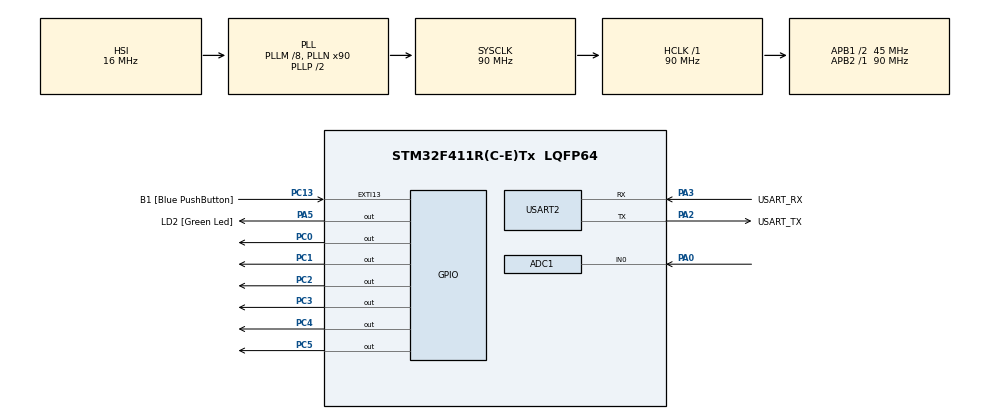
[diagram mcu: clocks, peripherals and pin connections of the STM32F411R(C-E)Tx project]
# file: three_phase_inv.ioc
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ADC1.Channel-0\#ChannelRegularConversion=ADC_CHANNEL_0
ADC1.ContinuousConvMode=DISABLE
ADC1.NbrOfConversionFlag=1
ADC1.Rank-0\#ChannelRegularConversion=1
ADC1.SamplingTime-0\#ChannelRegularConversion=ADC_SAMPLETIME_3CYCLES
ADC1.ScanConvMode=DISABLE
ADC1.master=1
Mcu.Family=STM32F4
Mcu.Name=STM32F411R(C-E)Tx
Mcu.Package=LQFP64
NVIC.ADC_IRQn=true\:0\:0\:false\:false\:true\:true\:true
NVIC.EXTI15_10_IRQn=true\:0\:0\:false\:false\:true\:true\:true
NVIC.PriorityGroup=NVIC_PRIORITYGROUP_0
NVIC.TIM1_BRK_TIM9_IRQn=true\:0\:0\:false\:false\:true\:true\:true
NVIC.TIM1_CC_IRQn=true\:0\:0\:false\:false\:true\:true\:true
NVIC.TIM1_TRG_COM_TIM11_IRQn=true\:0\:0\:false\:false\:true\:true\:true
NVIC.TIM1_UP_TIM10_IRQn=true\:0\:0\:false\:false\:true\:true\:true
NVIC.USART2_IRQn=true\:0\:0\:false\:false\:true\:true\:true
PA0-WKUP.Signal=ADCx_IN0
PA13.GPIO_Label=TMS
PA13.Mode=Serial_Wire
PA13.Signal=SYS_JTMS-SWDIO
PA14.GPIO_Label=TCK
PA14.Mode=Serial_Wire
PA14.Signal=SYS_JTCK-SWCLK
PA2.GPIO_Label=USART_TX
PA2.Mode=Asynchronous
PA2.Signal=USART2_TX
PA3.GPIO_Label=USART_RX
PA3.Mode=Asynchronous
PA3.Signal=USART2_RX
PA5.GPIO_Label=LD2 [Green Led]
PA5.GPIO_PuPd=GPIO_PULLDOWN
PA5.GPIO_Speed=GPIO_SPEED_FREQ_LOW
PA5.Signal=GPIO_Output
PB3.GPIO_Label=SWO
PB3.Signal=SYS_JTDO-SWO
PC0.GPIO_PuPd=GPIO_PULLDOWN
PC0.GPIO_Speed=GPIO_SPEED_FREQ_VERY_HIGH
PC0.Signal=GPIO_Output
PC1.GPIO_PuPd=GPIO_PULLDOWN
PC1.GPIO_Speed=GPIO_SPEED_FREQ_VERY_HIGH
PC1.Signal=GPIO_Output
PC13-ANTI_TAMP.GPIO_Label=B1 [Blue PushButton]
PC13-ANTI_TAMP.GPIO_ModeDefaultEXTI=GPIO_MODE_IT_FALLING
PC13-ANTI_TAMP.GPIO_PuPd=GPIO_NOPULL
PC13-ANTI_TAMP.Signal=GPXTI13
PC14-OSC32_IN.Mode=LSE-External-Oscillator
PC14-OSC32_IN.Signal=RCC_OSC32_IN
PC15-OSC32_OUT.Mode=LSE-External-Oscillator
PC15-OSC32_OUT.Signal=RCC_OSC32_OUT
PC2.GPIO_PuPd=GPIO_PULLDOWN
PC2.GPIO_Speed=GPIO_SPEED_FREQ_VERY_HIGH
PC2.Signal=GPIO_Output
PC3.GPIO_PuPd=GPIO_PULLDOWN
PC3.GPIO_Speed=GPIO_SPEED_FREQ_VERY_HIGH
PC3.Signal=GPIO_Output
PC4.GPIO_PuPd=GPIO_PULLDOWN
PC4.GPIO_Speed=GPIO_SPEED_FREQ_VERY_HIGH
PC4.Signal=GPIO_Output
PC5.GPIO_PuPd=GPIO_PULLDOWN
PC5.GPIO_Speed=GPIO_SPEED_FREQ_VERY_HIGH
PC5.Signal=GPIO_Output
PH0\ -\ OSC_IN.Mode=HSE-External-Clock-Source
PH0\ -\ OSC_IN.Signal=RCC_OSC_IN
PH1\ -\ OSC_OUT.Mode=HSE-External-Clock-Source
PH1\ -\ OSC_OUT.Signal=RCC_OSC_OUT
ProjectManager.HeapSize=0x200
ProjectManager.StackSize=0x400
ProjectManager.TargetToolchain=SW4STM32
RCC.48MHZClocksFreq_Value=45000000
RCC.AHBFreq_Value=90000000
RCC.APB1CLKDivider=RCC_HCLK_DIV2
RCC.APB1Freq_Value=45000000
RCC.APB1TimFreq_Value=90000000
RCC.APB2Freq_Value=90000000
RCC.APB2TimFreq_Value=90000000
RCC.CortexFreq_Value=90000000
RCC.FLatency-AdvancedSettings=FLASH_LATENCY_2
RCC.HCLKFreq_Value=90000000
RCC.HSE_VALUE=8000000
RCC.HSI_VALUE=16000000
RCC.PLLM=8
RCC.PLLN=90
RCC.SYSCLKFreq_VALUE=90000000
RCC.SYSCLKSource=RCC_SYSCLKSOURCE_PLLCLK
RCC.VCOOutputFreq_Value=180000000
SH.ADCx_IN0.0=ADC1_IN0,IN0
TIM1.AutoReloadPreload=TIM_AUTORELOAD_PRELOAD_ENABLE
TIM1.Period=1499
TIM1.Prescaler=59999
TIM10.AutoReloadPreload=TIM_AUTORELOAD_PRELOAD_ENABLE
TIM10.Period=4
TIM10.Prescaler=59999
TIM11.Period=4
TIM11.Prescaler=49
USART2.VirtualMode=VM_ASYNC
VP_TIM10_VS_ClockSourceINT.Mode=Enable_Timer
VP_TIM11_VS_ClockSourceINT.Mode=Enable_Timer
VP_TIM1_VS_ClockSourceINT.Mode=Internal
board=NUCLEO-F411RE

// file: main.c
/* USER CODE BEGIN Header */
/**
  ******************************************************************************
  * @file           : main.c
  * @brief          : Main program body
  ******************************************************************************
  * @attention
  *
  * <h2><center>&copy; Copyright (c) 2022 STMicroelectronics.
  * All rights reserved.</center></h2>
  *
  * This software component is licensed by ST under BSD 3-Clause license,
  * the "License"; You may not use this file except in compliance with the
  * License. You may obtain a copy of the License at:
  *                        opensource.org/licenses/BSD-3-Clause
  *
  ******************************************************************************
  */
/* USER CODE END Header */
#include "main.h"
#include "adc.h"
#include "tim.h"
#include "usart.h"
#include "gpio.h"

/* USER CODE BEGIN Includes */
#define ST0 0b0000000000000000
#define ST1 0b0000000000110001
#define ST2 0b0000000000100011
#define ST3 0b0000000000000111
#define ST4 0b0000000000001110
#define ST5 0b0000000000011100
#define ST6 0b0000000000111000
/* USER CODE END Includes */

/* USER CODE BEGIN PTD */
void Write_outputs (int state); //Writing all inputs (from 3 phases) in one moment
void Write_outputs_adv (int state, int phase); //Writing inputs of chosen phase
short int lookup[20] = {0,4,10,16,20,20,16,10,4,0,0,4,10,16,20,20,16,10,4,0}; //Lookup Table-only with 20 values, uc can handle only this speed of switching
int value_adc_read; //adc read
/* USER CODE END PTD */

/* USER CODE BEGIN PM */
int debug;
/* USER CODE END PM */

void SystemClock_Config(void);
/* USER CODE BEGIN PFP */
//Uart communication
uint8_t mark, announcement[20];
uint16_t d1_kom;
int wait_for_value[3];
uint8_t value_char[2];
int value_int[2][2]={{0,1},{0,0}};
int diode_mode=0;

int freq_decimal_value=0;

//PWM counting
int i_1,i_2,i_3,j_1,j_2,j_3;
long int delay_phase; //120, 240 degrees delay in phases

int freq_wanted=0;
int freq_actual=0;
/* USER CODE END PFP */

/* USER CODE BEGIN 0 */
short int state=0;  //Transistors State of switching
/* USER CODE END 0 */

int main(void)
{

  /* MCU Configuration--------------------------------------------------------*/

  /* Reset of all peripherals, Initializes the Flash interface and the Systick. */
  HAL_Init();

  /* Configure the system clock */
  SystemClock_Config();

  /* Initialize all configured peripherals */
  MX_GPIO_Init();
  MX_TIM10_Init();
  MX_USART2_UART_Init();
  MX_TIM11_Init();
  MX_ADC1_Init();
  MX_TIM1_Init();
  /* USER CODE BEGIN 2 */
  HAL_UART_Receive_IT(&huart2, &mark, 1);

  HAL_TIM_Base_Start_IT(&htim10);
  HAL_TIM_Base_Start_IT(&htim11);
  HAL_TIM_Base_Start_IT(&htim1);
  //HAL_ADC_Start(&hadc1);

  /* USER CODE END 2 */

  /* Infinite loop */
  while (1)
  {

    /* USER CODE BEGIN 3 */

	  //connectivity with uart test
	  if (diode_mode) HAL_GPIO_WritePin(GPIOA, 0x0020, GPIO_PIN_SET);
	  else if (!diode_mode) HAL_GPIO_WritePin(GPIOA, 0x0020, GPIO_PIN_RESET);

  }
  /* USER CODE END 3 */
}

void SystemClock_Config(void)
{
  RCC_OscInitTypeDef RCC_OscInitStruct = {0};
  RCC_ClkInitTypeDef RCC_ClkInitStruct = {0};

  /** Configure the main internal regulator output voltage
  */
  __HAL_RCC_PWR_CLK_ENABLE();
  __HAL_PWR_VOLTAGESCALING_CONFIG(PWR_REGULATOR_VOLTAGE_SCALE1);
  /** Initializes the RCC Oscillators according to the specified parameters
  * in the RCC_OscInitTypeDef structure.
  */
  RCC_OscInitStruct.OscillatorType = RCC_OSCILLATORTYPE_HSI;
  RCC_OscInitStruct.HSIState = RCC_HSI_ON;
  RCC_OscInitStruct.HSICalibrationValue = RCC_HSICALIBRATION_DEFAULT;
  RCC_OscInitStruct.PLL.PLLState = RCC_PLL_ON;
  RCC_OscInitStruct.PLL.PLLSource = RCC_PLLSOURCE_HSI;
  RCC_OscInitStruct.PLL.PLLM = 8;
  RCC_OscInitStruct.PLL.PLLN = 90;
  RCC_OscInitStruct.PLL.PLLP = RCC_PLLP_DIV2;
  RCC_OscInitStruct.PLL.PLLQ = 4;
  if (HAL_RCC_OscConfig(&RCC_OscInitStruct) != HAL_OK)
  {
    Error_Handler();
  }
  /** Initializes the CPU, AHB and APB buses clocks
  */
  RCC_ClkInitStruct.ClockType = RCC_CLOCKTYPE_HCLK|RCC_CLOCKTYPE_SYSCLK
                              |RCC_CLOCKTYPE_PCLK1|RCC_CLOCKTYPE_PCLK2;
  RCC_ClkInitStruct.SYSCLKSource = RCC_SYSCLKSOURCE_PLLCLK;
  RCC_ClkInitStruct.AHBCLKDivider = RCC_SYSCLK_DIV1;
  RCC_ClkInitStruct.APB1CLKDivider = RCC_HCLK_DIV2;
  RCC_ClkInitStruct.APB2CLKDivider = RCC_HCLK_DIV1;

  if (HAL_RCC_ClockConfig(&RCC_ClkInitStruct, FLASH_LATENCY_2) != HAL_OK)
  {
    Error_Handler();
  }
}

/* USER CODE BEGIN 4 */
void HAL_UART_RxCpltCallback(UART_HandleTypeDef *huart)
{
	//UART transmit in case feedback answer is needed
	//HAL_UART_Transmit_IT(&huart6, announcement, d1_kom);
	//Long code, but it can't be shorten with outside made function - rxcpltCallback didnt work with that.
	if(huart->Instance == USART2)
	{

		if(mark == 'o')
			{
				diode_mode=1;

			}

		else if(mark == 's')
			{
				diode_mode=0;
				//freq_actual = 1;
			}
		if(diode_mode)
		{
		if(mark == 'f')
			{

			freq_decimal_value = value_int[0][0]*10+value_int[0][1];
			freq_wanted = freq_decimal_value;
			freq_actual = 50 / freq_wanted;
			// setting new values for timers
			htim10.Instance = TIM10;
		  htim10.Init.Prescaler = 59999;
		  htim10.Init.CounterMode = TIM_COUNTERMODE_UP;
		  htim10.Init.Period = 5*freq_actual - 1;
		  htim10.Init.ClockDivision = TIM_CLOCKDIVISION_DIV1;
		  htim10.Init.AutoReloadPreload = TIM_AUTORELOAD_PRELOAD_ENABLE;
		  if (HAL_TIM_Base_Init(&htim10) != HAL_OK)
		  {
			Error_Handler();
		  }
		  htim11.Instance = TIM11;
		  htim11.Init.Prescaler = 49;
		  htim11.Init.CounterMode = TIM_COUNTERMODE_UP;
		  htim11.Init.Period = 5*6*freq_actual - 1;
		  htim11.Init.ClockDivision = TIM_CLOCKDIVISION_DIV1;
		  htim11.Init.AutoReloadPreload = TIM_AUTORELOAD_PRELOAD_DISABLE;
		  if (HAL_TIM_Base_Init(&htim11) != HAL_OK)
		  {
		    Error_Handler();
		  }
		  HAL_TIM_Base_Start_IT(&htim10);
		  HAL_TIM_Base_Start_IT(&htim11);
			}
		//Receiving and saving data module
		else if(mark == 'u')
			{
				wait_for_value[2]=1;
			}

		else if(mark == 'q')
			{
				wait_for_value[0]=2;
			}

		else if(mark == 'a')
			{
				wait_for_value[1]=2;
			}

		else if (mark == '0')
			{
				if (wait_for_value[0]==2)
					{
					value_int[0][0]=0;
					wait_for_value[0]=1;
					}
				else if (wait_for_value[0]==1)
					{
					value_int[0][1]=0;
					wait_for_value[0]=0;
					}
				else if (wait_for_value[0]==0)
					{
					}

				if (wait_for_value[1]==2)
					{
				value_int[1][0]=0;
				wait_for_value[1]=1;
					}
				else if (wait_for_value[1]==1)
					{
					value_int[1][1]=0;
					wait_for_value[1]=0;
					}
				else if (wait_for_value[1]==0)
					{
					}

				if (wait_for_value[2]==1)
					{

					wait_for_value[2]=0;
					}
			}

		else if (mark == '1')
				{
				if (wait_for_value[0]==2)
					{
					value_int[0][0]=1;
					wait_for_value[0]=1;
					}
				else if (wait_for_value[0]==1)
					{
					value_int[0][1]=1;
					wait_for_value[0]=0;
					}
				else if (wait_for_value[0]==0)
					{
					}

				if (wait_for_value[1]==2)
					{
				value_int[1][0]=1;
				wait_for_value[1]=1;
					}
				else if (wait_for_value[1]==1)
					{
					value_int[1][1]=1;
					wait_for_value[1]=0;
					}
				else if (wait_for_value[1]==0)
					{
					}

				if (wait_for_value[2]==1)
					{

					wait_for_value[2]=0;
					}
				}

		else if (mark == '2')
			{
				if (wait_for_value[0]==2)
					{
					value_int[0][0]=2;
					wait_for_value[0]=1;
					}
				else if (wait_for_value[0]==1)
					{
					value_int[0][1]=2;
					wait_for_value[0]=0;
					}
				else if (wait_for_value[0]==0)
					{
					}

				if (wait_for_value[1]==2)
					{
					value_int[1][0]=2;
					wait_for_value[1]=1;
					}
				else if (wait_for_value[1]==1)
					{
					value_int[1][1]=2;
					wait_for_value[1]=0;
					}
				else if (wait_for_value[1]==0)
					{
					}

			}
		else if (mark == '3')
			{
				if (wait_for_value[0]==2)
					{
					value_int[0][0]=3;
					wait_for_value[0]=1;
					}
				else if (wait_for_value[0]==1)
					{
					value_int[0][1]=3;
					wait_for_value[0]=0;
					}
				else if (wait_for_value[0]==0)
					{
					}

				if (wait_for_value[1]==2)
					{
					value_int[1][0]=3;
					wait_for_value[1]=1;
					}
				else if (wait_for_value[1]==1)
					{
					value_int[1][1]=3;
					wait_for_value[1]=0;
					}
				else if (wait_for_value[1]==0)
					{
					}

			}
		else if (mark == '4')
			{
				if (wait_for_value[0]==2)
					{
					value_int[0][0]=4;
					wait_for_value[0]=1;
					}
				else if (wait_for_value[0]==1)
					{
					value_int[0][1]=4;
					wait_for_value[0]=0;
					}
				else if (wait_for_value[0]==0)
					{
					}

				if (wait_for_value[1]==2)
					{
					value_int[1][0]=4;
					wait_for_value[1]=1;
					}
				else if (wait_for_value[1]==1)
					{
					value_int[1][1]=4;
					wait_for_value[1]=0;
					}
				else if (wait_for_value[1]==0)
					{
					}

			}
		else if (mark == '5')
			{
				if (wait_for_value[0]==2)
					{
					value_int[0][0]=5;
					wait_for_value[0]=1;
					}
				else if (wait_for_value[0]==1)
					{
					value_int[0][1]=5;
					wait_for_value[0]=0;
					}
				else if (wait_for_value[0]==0)
					{
					}

				if (wait_for_value[1]==2)
					{
					value_int[1][0]=5;
					wait_for_value[1]=1;
					}
				else if (wait_for_value[1]==1)
					{
					value_int[1][1]=5;
					wait_for_value[1]=0;
					}
				else if (wait_for_value[1]==0)
					{
					}
			}

		else if (mark == '6')
			{
				if (wait_for_value[0]==2)
					{
					value_int[0][0]=6;
					wait_for_value[0]=1;
					}
				else if (wait_for_value[0]==1)
					{
					value_int[0][1]=6;
					wait_for_value[0]=0;
					}
				else if (wait_for_value[0]==0)
					{
					}

				if (wait_for_value[1]==2)
					{
					value_int[1][0]=6;
					wait_for_value[1]=1;
					}
				else if (wait_for_value[1]==1)
					{
					value_int[1][1]=6;
					wait_for_value[1]=0;
					}
				else if (wait_for_value[1]==0)
					{
					}
			}

		else if (mark == '7')
			{
				if (wait_for_value[0]==2)
					{
					value_int[0][0]=7;
					wait_for_value[0]=1;
					}
				else if (wait_for_value[0]==1)
					{
					value_int[0][1]=7;
					wait_for_value[0]=0;
					}
				else if (wait_for_value[0]==0)
					{
					}

				if (wait_for_value[1]==2)
					{
					value_int[1][0]=7;
					wait_for_value[1]=1;
					}
				else if (wait_for_value[1]==1)
					{
					value_int[1][1]=7;
					wait_for_value[1]=0;
					}
				else if (wait_for_value[1]==0)
					{
					}
			}

		else if (mark == '8')
			{
				if (wait_for_value[0]==2)
					{
					value_int[0][0]=8;
					wait_for_value[0]=1;
					}
				else if (wait_for_value[0]==1)
					{
					value_int[0][1]=8;
					wait_for_value[0]=0;
					}
				else if (wait_for_value[0]==0)
					{
					}

				if (wait_for_value[1]==2)
					{
					value_int[1][0]=8;
					wait_for_value[1]=1;
					}
				else if (wait_for_value[1]==1)
					{
					value_int[1][1]=8;
					wait_for_value[1]=0;
					}
				else if (wait_for_value[1]==0)
					{
					}
			}

		else if (mark == '9')
		{
				if (wait_for_value[0]==2)
					{
					value_int[0][0]=9;
					wait_for_value[0]=1;
					}
				else if (wait_for_value[0]==1)
					{
					value_int[0][1]=9;
					wait_for_value[0]=0;
					}
				else if (wait_for_value[0]==0)
					{
					}

				if (wait_for_value[1]==2)
					{
					value_int[1][0]=9;
					wait_for_value[1]=1;
					}
				else if (wait_for_value[1]==1)
					{
					value_int[1][1]=9;
					wait_for_value[1]=0;
					}
				else if (wait_for_value[1]==0)
					{
					}

		}
		}
		HAL_UART_Receive_IT(&huart2, &mark, 1);
	}

}

void HAL_TIM_PeriodElapsedCallback(TIM_HandleTypeDef *htim)
{
	//Changing states with f/6 frequency
	if(htim->Instance == TIM1)
	{
		//Inverter can be controlled also with adc
				if (!diode_mode)
				{
			  HAL_ADC_Start(&hadc1);
			  HAL_ADC_PollForConversion(&hadc1, HAL_MAX_DELAY);
			  value_adc_read = HAL_ADC_GetValue(&hadc1);
			  HAL_ADC_Stop(&hadc1);
			  }

	}
	if(htim->Instance == TIM10)
	{
		state=state+1;
		if (state>=7) state=1;
		//Write_outputs(state);

	}
	//PWM with f/400 frequency
	if(htim->Instance == TIM11)
	{

		if (delay_phase< 300) delay_phase = delay_phase+1; //czekamy do 133 dla fazy 1 i 266 dla fazy 2
		i_1=i_1+1;
		if (i_1 > 20)
			{
			j_1=j_1+1;
			i_1=0;
			}
		if (j_1 > 20) j_1=0;
		if (i_1<=lookup[j_1])
		{
			Write_outputs_adv(state,1);
			debug=1;
		}
		else
		{
		HAL_GPIO_WritePin(GPIOC, 0b0000000000001001, GPIO_PIN_RESET);
		debug=0;
		}

		if (delay_phase>=133)
		{
			i_2=i_2+1;
			if (i_2 > 20)
				{
				j_2=j_2+1;
				i_2=0;
				}
			if (j_2 > 20) j_2=0;
			if (i_2<=lookup[j_2])
			{
				Write_outputs_adv(state,2);
			}
			else
			{
			HAL_GPIO_WritePin(GPIOC, 0b0000000000100100, GPIO_PIN_RESET);
			}
		}
		if (delay_phase>=266)
		{
			i_3=i_3+1;
			if (i_3 > 20)
				{
				j_3=j_3+1;
				i_3=0;
				}
			if (j_3 > 20) j_3=0;
			if (i_3<=lookup[j_3])
			{
				Write_outputs_adv(state,3);
			}
			else
			{
			HAL_GPIO_WritePin(GPIOC, 0b0000000000010010, GPIO_PIN_RESET);
			}
		}
	}

}
void HAL_GPIO_EXTI_Callback(uint16_t GPIO_Pin)
{
	//frequnecy set with adc is activated by Button on board (interrupt)
	if (!diode_mode)
					{
			  freq_wanted = (value_adc_read)*50/4096+1;
			  freq_actual=50/freq_wanted;
			  htim10.Instance = TIM10;
			  htim10.Init.Prescaler = 59999;
			  htim10.Init.CounterMode = TIM_COUNTERMODE_UP;
			  htim10.Init.Period = 5*freq_actual - 1;
			  htim10.Init.ClockDivision = TIM_CLOCKDIVISION_DIV1;
			  htim10.Init.AutoReloadPreload = TIM_AUTORELOAD_PRELOAD_ENABLE;
			  if (HAL_TIM_Base_Init(&htim10) != HAL_OK)
			  {
				Error_Handler();
			  }
			  htim11.Instance = TIM11;
			  htim11.Init.Prescaler = 49;
			  htim11.Init.CounterMode = TIM_COUNTERMODE_UP;
			  htim11.Init.Period = 5*6*freq_actual - 1;
			  htim11.Init.ClockDivision = TIM_CLOCKDIVISION_DIV1;
			  htim11.Init.AutoReloadPreload = TIM_AUTORELOAD_PRELOAD_DISABLE;
			  if (HAL_TIM_Base_Init(&htim11) != HAL_OK)
			  {
			    Error_Handler();
			  }
			  HAL_TIM_Base_Start_IT(&htim10);
			  HAL_TIM_Base_Start_IT(&htim11);
					}
}
void Write_outputs (int state)
{
			if (state == 0)
			{
				HAL_GPIO_WritePin(GPIOC, ~ST0, GPIO_PIN_RESET);
				HAL_GPIO_WritePin(GPIOC, ST0, GPIO_PIN_SET);
			}
			else if (state == 1)
			{
				HAL_GPIO_WritePin(GPIOC, ~ST1, GPIO_PIN_RESET);
				HAL_GPIO_WritePin(GPIOC, ST1, GPIO_PIN_SET);
			}
			else if (state == 2)
			{
				HAL_GPIO_WritePin(GPIOC, ~ST2, GPIO_PIN_RESET);
				HAL_GPIO_WritePin(GPIOC, ST2, GPIO_PIN_SET);
			}
			else if (state == 3)
			{
				HAL_GPIO_WritePin(GPIOC, ~ST3, GPIO_PIN_RESET);
				HAL_GPIO_WritePin(GPIOC, ST3, GPIO_PIN_SET);
			}
			else if (state == 4)
			{
				HAL_GPIO_WritePin(GPIOC, ~ST4, GPIO_PIN_RESET);
				HAL_GPIO_WritePin(GPIOC, ST4, GPIO_PIN_SET);
			}
			else if (state == 5)
			{
				HAL_GPIO_WritePin(GPIOC, ~ST5, GPIO_PIN_RESET);
				HAL_GPIO_WritePin(GPIOC, ST5, GPIO_PIN_SET);
			}
			else if (state == 6)
			{
				HAL_GPIO_WritePin(GPIOC, ~ST6, GPIO_PIN_RESET);
				HAL_GPIO_WritePin(GPIOC, ST6, GPIO_PIN_SET);
			}
}
void Write_outputs_adv (int state, int phase)
{

			if (phase == 1)
			{
				if (state == 0)
				{
					HAL_GPIO_WritePin(GPIOC,0b0000000000001001, GPIO_PIN_RESET);
					HAL_GPIO_WritePin(GPIOC, 0b0000000000000000, GPIO_PIN_SET);
				}
				else if (state == 1)
				{
					HAL_GPIO_WritePin(GPIOC, 0b0000000000001000, GPIO_PIN_RESET);
					HAL_GPIO_WritePin(GPIOC, 0b0000000000000001, GPIO_PIN_SET);
				}
				else if (state == 2)
				{
					HAL_GPIO_WritePin(GPIOC, 0b0000000000001000, GPIO_PIN_RESET);
					HAL_GPIO_WritePin(GPIOC, 0b0000000000000001, GPIO_PIN_SET);
				}
				else if (state == 3)
				{
					HAL_GPIO_WritePin(GPIOC, 0b0000000000001000, GPIO_PIN_RESET);
					HAL_GPIO_WritePin(GPIOC, 0b0000000000000001, GPIO_PIN_SET);
				}
				else if (state == 4)
				{
					HAL_GPIO_WritePin(GPIOC, 0b0000000000000001, GPIO_PIN_RESET);
					HAL_GPIO_WritePin(GPIOC, 0b0000000000001000, GPIO_PIN_SET);
				}
				else if (state == 5)
				{
					HAL_GPIO_WritePin(GPIOC, 0b0000000000000001, GPIO_PIN_RESET);
					HAL_GPIO_WritePin(GPIOC, 0b0000000000001000, GPIO_PIN_SET);
				}
				else if (state == 6)
				{
					HAL_GPIO_WritePin(GPIOC, 0b0000000000000001, GPIO_PIN_RESET);
					HAL_GPIO_WritePin(GPIOC, 0b0000000000001000, GPIO_PIN_SET);
				}
			}
			if (phase == 2)
			{
				if (state == 0)
				{
					HAL_GPIO_WritePin(GPIOC,0b0000000000100100, GPIO_PIN_RESET);
					HAL_GPIO_WritePin(GPIOC, 0b0000000000000000, GPIO_PIN_SET);
				}
				else if (state == 1)
				{
					HAL_GPIO_WritePin(GPIOC, 0b0000000000000100, GPIO_PIN_RESET);
					HAL_GPIO_WritePin(GPIOC, 0b0000000000100000, GPIO_PIN_SET);
				}
				else if (state == 2)
				{
					HAL_GPIO_WritePin(GPIOC, 0b0000000000000100, GPIO_PIN_RESET);
					HAL_GPIO_WritePin(GPIOC, 0b0000000000100000, GPIO_PIN_SET);
				}
				else if (state == 3)
				{
					HAL_GPIO_WritePin(GPIOC, 0b0000000000100000, GPIO_PIN_RESET);
					HAL_GPIO_WritePin(GPIOC, 0b0000000000000100, GPIO_PIN_SET);
				}
				else if (state == 4)
				{
					HAL_GPIO_WritePin(GPIOC, 0b0000000000100000, GPIO_PIN_RESET);
					HAL_GPIO_WritePin(GPIOC, 0b0000000000000100, GPIO_PIN_SET);
				}
				else if (state == 5)
				{
					HAL_GPIO_WritePin(GPIOC, 0b0000000000100000, GPIO_PIN_RESET);
					HAL_GPIO_WritePin(GPIOC, 0b0000000000000100, GPIO_PIN_SET);
				}
				else if (state == 6)
				{
					HAL_GPIO_WritePin(GPIOC, 0b0000000000000100, GPIO_PIN_RESET);
					HAL_GPIO_WritePin(GPIOC, 0b0000000000100000, GPIO_PIN_SET);
				}
			}
			if (phase == 3)
			{
				if (state == 0)
				{
					HAL_GPIO_WritePin(GPIOC, 0b0000000000010010, GPIO_PIN_RESET);
					HAL_GPIO_WritePin(GPIOC, 0b0000000000000000, GPIO_PIN_SET);
				}
				else if (state == 1)
				{
					HAL_GPIO_WritePin(GPIOC, 0b0000000000000010, GPIO_PIN_RESET);
					HAL_GPIO_WritePin(GPIOC, 0b0000000000010000, GPIO_PIN_SET);
				}
				else if (state == 2)
				{
					HAL_GPIO_WritePin(GPIOC, 0b0000000000010000, GPIO_PIN_RESET);
					HAL_GPIO_WritePin(GPIOC, 0b0000000000000010, GPIO_PIN_SET);
				}
				else if (state == 3)
				{
					HAL_GPIO_WritePin(GPIOC, 0b0000000000010000, GPIO_PIN_RESET);
					HAL_GPIO_WritePin(GPIOC, 0b0000000000000010, GPIO_PIN_SET);
				}
				else if (state == 4)
				{
					HAL_GPIO_WritePin(GPIOC, 0b0000000000010000, GPIO_PIN_RESET);
					HAL_GPIO_WritePin(GPIOC, 0b0000000000000010, GPIO_PIN_SET);
				}
				else if (state == 5)
				{
					HAL_GPIO_WritePin(GPIOC, 0b0000000000000010, GPIO_PIN_RESET);
					HAL_GPIO_WritePin(GPIOC, 0b0000000000010000, GPIO_PIN_SET);
				}
				else if (state == 6)
				{
					HAL_GPIO_WritePin(GPIOC, 0b0000000000000010, GPIO_PIN_RESET);
					HAL_GPIO_WritePin(GPIOC, 0b0000000000010000, GPIO_PIN_SET);
				}
			}
}
/* USER CODE END 4 */

void Error_Handler(void)
{
  __disable_irq();
  while (1)
  {
  }
}

/************************ (C) COPYRIGHT STMicroelectronics *****END OF FILE****/
